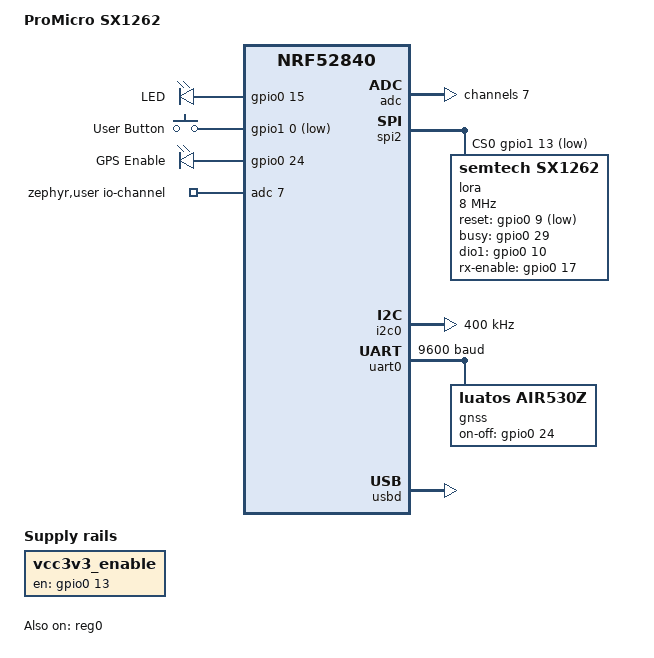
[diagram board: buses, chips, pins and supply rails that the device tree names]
/*
 * ProMicro SX1262 — nRF52840 SuperMini + Ebyte E22-900M30S
 * Copyright (c) 2025 ZephCore
 *
 * SPDX-License-Identifier: Apache-2.0
 *
 * Hardware:
 * - nRF52840 (SuperMini/ProMicro form factor) with BLE 5
 * - Ebyte E22-900M30S (SX1262 + 30dB PA), TCXO, DIO2=TXEN, RXEN on P0.17
 * - GPS module on UART0 (9600 baud, P0.22 RX, P0.20 TX)
 * - Battery ADC on AIN7 (P0.31), 150K+150K divider (2:1)
 * - User button on P1.00, LED on P0.15
 * - 3V3 enable on P0.13 (must be HIGH for SX1262 to function)
 */

/dts-v1/;
#include <nordic/nrf52840_qiaa.dtsi>
#include "promicro_sx1262-pinctrl.dtsi"
#include <zephyr/dt-bindings/adc/nrf-saadc.h>
#include <zephyr/dt-bindings/input/input-event-codes.h>
#include <zephyr/dt-bindings/lora/sx126x.h>

/ {
	model = "ProMicro SX1262";
	compatible = "zephcore,promicro-sx1262";

	chosen {
		zephyr,sram = &sram0;
		zephyr,flash = &flash0;
		zephyr,code-partition = &code_partition;
		zephyr,console = &cdc_acm_uart;
		zephyr,shell-uart = &cdc_acm_uart;
	};

	aliases {
		lora0 = &lora;
		led0 = &led0;
		sw0 = &user_button;
		watchdog0 = &wdt0;
		gps-enable = &gps_enable_pin;
	};

	leds {
		compatible = "gpio-leds";
		led0: led_0 {
			gpios = <&gpio0 15 GPIO_ACTIVE_HIGH>;
			label = "LED";
		};
	};

	buttons: buttons {
		compatible = "gpio-keys";
		user_button: button_0 {
			gpios = <&gpio1 0 (GPIO_PULL_UP | GPIO_ACTIVE_LOW)>;
			zephyr,code = <INPUT_KEY_ENTER>;
			label = "User Button";
		};
	};

	/* 3V3 enable — must be HIGH to power E22-900M30S module */
	vcc3v3_enable: vcc3v3-enable {
		compatible = "regulator-fixed";
		regulator-name = "vcc3v3-enable";
		enable-gpios = <&gpio0 13 GPIO_ACTIVE_HIGH>;
		regulator-boot-on;
		startup-delay-us = <5000>;
	};

	/* GPS power control */
	gps_en: gps-enable {
		compatible = "gpio-leds";
		gps_enable_pin: gps_enable {
			gpios = <&gpio0 24 GPIO_ACTIVE_HIGH>;
			label = "GPS Enable";
		};
	};

	/* Battery ADC: P0.31 (AIN7), 2:1 voltage devider, 3.6V ref */
	zephyr,user {
		io-channels = <&adc 7>;
		vbat-mv-multiplier = <7200>;
	};
};

&reg0 {
	status = "okay";
};

&reg1 {
	regulator-initial-mode = <NRF5X_REG_MODE_DCDC>;
};

&uicr {
	nfct-pins-as-gpios;
};

&gpiote {
	status = "okay";
};

&gpio0 {
	status = "okay";
};

&gpio1 {
	status = "okay";
};

&adc {
	status = "okay";
	#address-cells = <1>;
	#size-cells = <0>;

	/* Battery voltage on P0.31 (AIN7) */
	channel@7 {
		reg = <7>;
		zephyr,gain = "ADC_GAIN_1_6";
		zephyr,reference = "ADC_REF_INTERNAL";
		zephyr,acquisition-time = <ADC_ACQ_TIME(ADC_ACQ_TIME_MICROSECONDS, 10)>;
		zephyr,input-positive = <NRF_SAADC_AIN7>;
		zephyr,resolution = <12>;
	};
};

/* ---- SPI2 for SX1262 (Ebyte E22-900M30S) ---- */
&spi2 {
	compatible = "nordic,nrf-spim";
	status = "okay";
	pinctrl-0 = <&spi2_default>;
	pinctrl-1 = <&spi2_sleep>;
	pinctrl-names = "default", "sleep";
	cs-gpios = <&gpio1 13 GPIO_ACTIVE_LOW>;   /* P1.13 SX1262_CS */

	lora: lora@0 {
		compatible = "semtech,sx1262";
		reg = <0>;
		spi-max-frequency = <8000000>;

		reset-gpios = <&gpio0  9 GPIO_ACTIVE_LOW>;
		busy-gpios  = <&gpio0 29 GPIO_ACTIVE_HIGH>;
		dio1-gpios  = <&gpio0 10 (GPIO_PULL_DOWN | GPIO_ACTIVE_HIGH)>;

		/* RF switch: DIO2 drives TXEN, RXEN on P0.17 */
		dio2-tx-enable;
		rx-enable-gpios = <&gpio0 17 GPIO_ACTIVE_HIGH>;

		/* E22-900M30S TCXO, 1.8V supply via DIO3 */
		dio3-tcxo-voltage = <SX126X_DIO3_TCXO_1V8>;
		tcxo-power-startup-delay-ms = <10>;

		/* RX boosted mode for better sensitivity */
		rx-boosted;
	};
};

/* ---- I2C0 for optional sensors ---- */
&i2c0 {
	compatible = "nordic,nrf-twim";
	status = "okay";
	clock-frequency = <I2C_BITRATE_FAST>;
	pinctrl-0 = <&i2c0_default>;
	pinctrl-1 = <&i2c0_sleep>;
	pinctrl-names = "default", "sleep";

	/* All supported environment & power sensors — auto-detected at runtime */
	#include "../../common/sensors-i2c.dtsi"
};

/* ---- GPS on UART0 (9600 baud) ---- */
&uart0 {
	compatible = "nordic,nrf-uarte";
	status = "okay";
	current-speed = <9600>;
	pinctrl-0 = <&uart0_default>;
	pinctrl-1 = <&uart0_sleep>;
	pinctrl-names = "default", "sleep";

	gnss: gnss {
		compatible = "luatos,air530z";
		on-off-gpios = <&gpio0 24 GPIO_ACTIVE_HIGH>;
	};
};

/* ---- USB CDC for console/CLI ---- */
zephyr_udc0: &usbd {
	compatible = "nordic,nrf-usbd";
	status = "okay";

	cdc_acm_uart: cdc_acm_uart {
		compatible = "zephyr,cdc-acm-uart";
	};
};

/* ---- Flash partitions (SoftDevice v6, app@0x26000) ---- */
#include "../../common/nrf52_partitions_sdv6.dtsi"
#include "../../common/nrf52_wakeup.dtsi"
